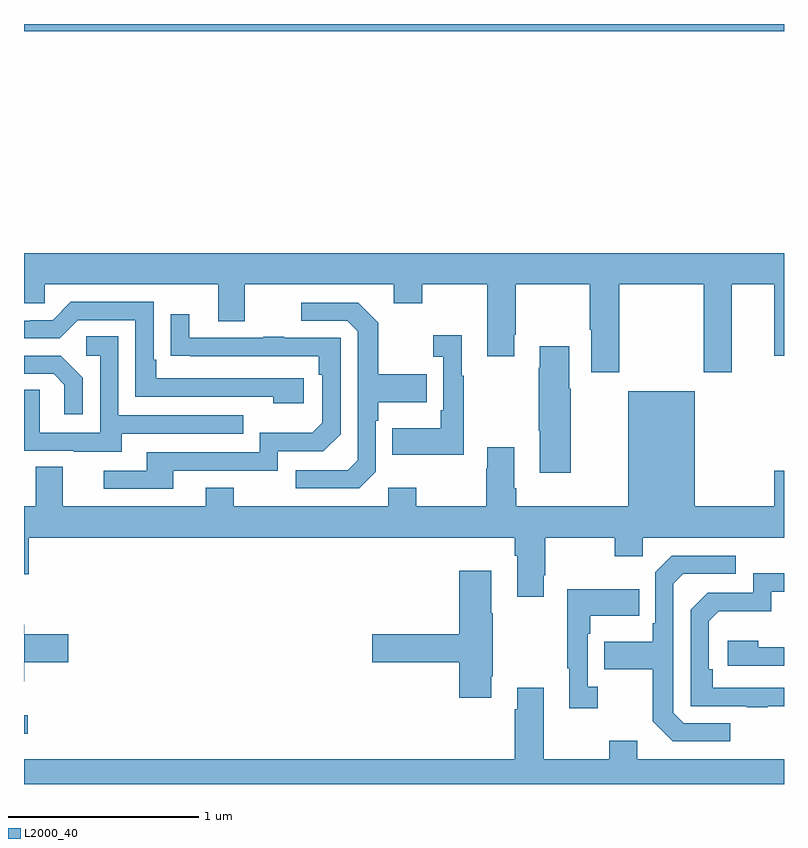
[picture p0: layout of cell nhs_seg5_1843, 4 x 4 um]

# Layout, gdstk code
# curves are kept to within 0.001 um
import gdstk
lib = gdstk.Library(unit=1e-6, precision=1e-09)
def R(c, l, rs):  # rectangles x0, y0, x1, y1
    for r in rs: c.add(gdstk.rectangle(r[:2], r[2:], *l))
def P(c, l, *ps):  # polygons
    for p in ps: c.add(gdstk.Polygon(p, *l))
L2000_40 = (2000, 40)

nhs_seg5_1843 = lib.new_cell('nhs_seg5_1843')
R(nhs_seg5_1843, L2000_40, [(221,853.064,221.02,853.161), (221,856.76,225,856.799)])
P(nhs_seg5_1843, L2000_40, [(224.133,855.428),(224.578,855.428),(224.578,854.967),(224.725,854.967),(224.725,855.428),(224.948,855.428),(224.948,855.054),(225,855.054),(225,855.592),(221,855.592),(221,855.33),(221.109,855.33),(221.109,855.428),(222.023,855.428),(222.023,855.234),(222.163,855.234),(222.163,855.428),(222.947,855.428),(222.947,855.329),(223.095,855.329),(223.095,855.428),(223.439,855.428),(223.439,855.051),(223.579,855.051),(223.579,855.163),(223.587,855.163),(223.587,855.428),(223.978,855.428),(223.978,855.19),(223.985,855.19),(223.985,854.967),(224.133,854.967)],
  [(222.472,854.934),(221.695,854.934),(221.695,855.031),(221.682,855.031),(221.682,855.336),(221.247,855.336),(221.151,855.24),(221.033,855.24),(221.033,855.237),(221,855.237),(221,855.144),(221.187,855.144),(221.283,855.24),(221.586,855.24),(221.586,854.838),(222.311,854.838),(222.311,854.804),(222.472,854.804)],
  [(222.852,854.442),(222.852,854.711),(222.865,854.711),(222.865,854.807),(223.121,854.807),(223.121,854.955),(222.865,854.955),(222.865,855.227),(222.759,855.333),(222.459,855.333),(222.459,855.237),(222.702,855.237),(222.756,855.183),(222.756,854.502),(222.705,854.451),(222.429,854.451),(222.429,854.355),(222.765,854.355)],
  [(221.785,854.448),(222.336,854.448),(222.336,854.55),(222.576,854.55),(222.666,854.64),(222.666,855.147),(222.371,855.147),(222.371,855.152),(222.259,855.152),(222.259,855.147),(221.869,855.147),(221.869,855.271),(221.773,855.271),(221.773,855.052),(222.55,855.051),(222.55,854.954),(222.57,854.954),(222.57,854.7),(222.517,854.647),(222.24,854.647),(222.24,854.544),(221.645,854.544),(221.645,854.448),(221.421,854.448),(221.421,854.352),(221.785,854.352)],
  [(223.315,854.947),(223.303,854.947),(223.303,855.16),(223.155,855.16),(223.155,855.047),(223.206,855.047),(223.206,854.767),(223.194,854.767),(223.194,854.671),(222.937,854.671),(222.937,854.531),(223.315,854.531)],
  [(221.515,854.643),(222.155,854.643),(222.155,854.739),(221.496,854.739),(221.496,855.155),(221.328,855.155),(221.328,855.054),(221.4,855.054),(221.4,854.649),(221.082,854.649),(221.082,854.873),(221,854.873),(221,854.553),(221.261,854.553),(221.261,854.549),(221.515,854.549)],
  [(223.878,854.879),(223.87,854.879),(223.87,855.103),(223.715,855.103),(223.715,854.99),(223.708,854.99),(223.708,854.659),(223.715,854.659),(223.715,854.436),(223.878,854.436)],
  [(221.31,854.938),(221.194,855.054),(221,855.054),(221,854.958),(221.156,854.958),(221.213,854.901),(221.213,854.745),(221.31,854.745)],
  [(223.735,853.897),(223.743,853.897),(223.743,854.096),(224.11,854.096),(224.11,853.997),(224.256,853.997),(224.256,854.096),(225,854.096),(225,854.449),(224.948,854.449),(224.948,854.26),(224.53,854.26),(224.53,854.866),(224.18,854.866),(224.18,854.26),(223.592,854.26),(223.592,854.356),(223.579,854.356),(223.579,854.572),(223.439,854.572),(223.439,854.459),(223.432,854.459),(223.432,854.26),(223.065,854.26),(223.065,854.359),(222.918,854.359),(222.918,854.26),(222.105,854.26),(222.105,854.359),(221.957,854.359),(221.957,854.26),(221.203,854.26),(221.203,854.468),(221.063,854.468),(221.063,854.26),(221,854.26),(221,853.902),(221.024,853.902),(221.024,854.096),(223.583,854.096),(223.583,854),(223.595,854),(223.595,853.785),(223.735,853.785)],
  [(224.716,853.119),(224.472,853.119),(224.418,853.173),(224.418,853.854),(224.469,853.905),(224.746,853.905),(224.746,854.001),(224.409,854.001),(224.322,853.914),(224.322,853.645),(224.31,853.645),(224.31,853.549),(224.053,853.549),(224.053,853.402),(224.31,853.402),(224.31,853.129),(224.415,853.023),(224.716,853.023)],
  [(223.459,853.366),(223.467,853.366),(223.467,853.697),(223.459,853.697),(223.459,853.921),(223.292,853.921),(223.292,853.586),(222.834,853.586),(222.834,853.439),(223.292,853.439),(223.292,853.254),(223.459,853.254)],
  [(224.915,853.209),(225,853.209),(225,853.305),(224.624,853.305),(224.624,853.402),(224.604,853.402),(224.604,853.656),(224.657,853.709),(224.934,853.709),(224.934,853.812),(225,853.812),(225,853.908),(224.838,853.908),(224.838,853.806),(224.598,853.806),(224.508,853.716),(224.508,853.209),(224.803,853.209),(224.803,853.204),(224.915,853.204)],
  [(224.02,853.31),(223.968,853.31),(223.968,853.589),(223.981,853.589),(223.981,853.685),(224.237,853.685),(224.237,853.825),(223.86,853.825),(223.86,853.409),(223.871,853.409),(223.871,853.197),(224.02,853.197)],
  [(221.002,853.439),(221.233,853.439),(221.233,853.586),(221.002,853.586),(221.002,853.636),(221,853.636),(221,853.34),(221.002,853.34)],
  [(225,853.518),(224.864,853.518),(224.864,853.552),(224.703,853.552),(224.703,853.422),(225,853.422)],
  [(225,852.928),(224.227,852.928),(224.227,853.027),(224.08,853.027),(224.08,852.928),(223.735,852.928),(223.735,853.306),(223.595,853.306),(223.595,853.193),(223.583,853.193),(223.583,852.928),(221,852.928),(221,852.799),(225,852.799)])

lib.write_gds('nhs_seg5_1843.gds')
